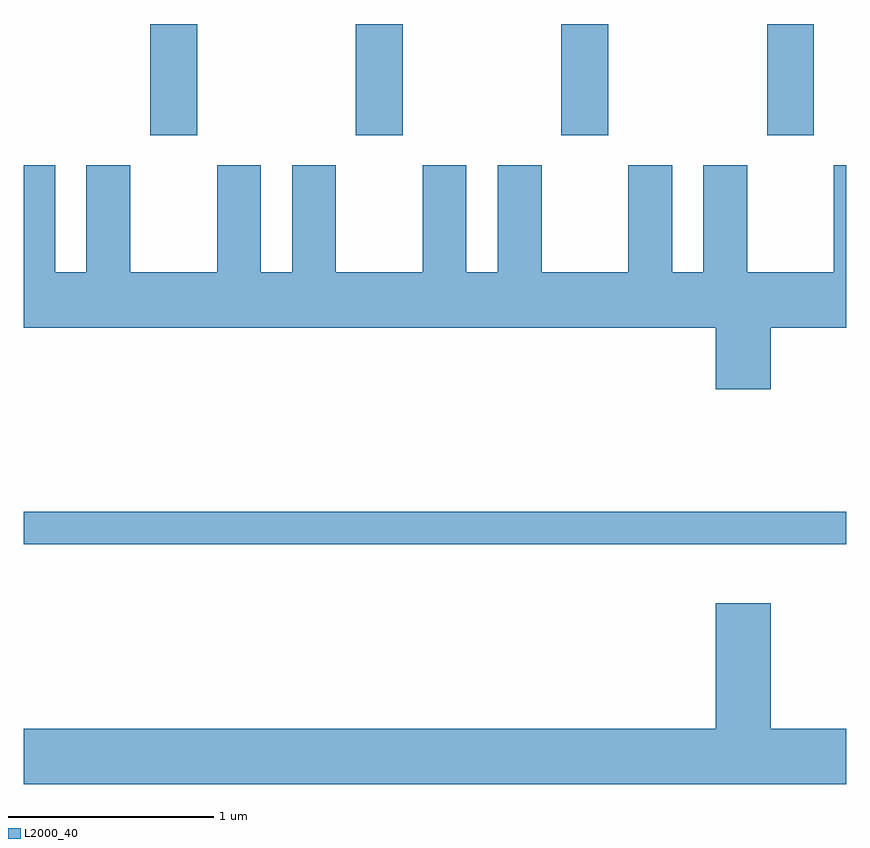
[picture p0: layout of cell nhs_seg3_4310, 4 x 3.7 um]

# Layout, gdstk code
import gdstk
lib = gdstk.Library(unit=1e-6, precision=1e-09)
def R(c, l, rs):  # rectangles x0, y0, x1, y1
    for r in rs: c.add(gdstk.rectangle(r[:2], r[2:], *l))
def A(c, l, x, y, w, h, nx, ny, dx, dy):  # array of equal rectangles
    R(c, l, [(x+i*dx, y+j*dy, x+i*dx+w, y+j*dy+h) for i in range(nx) for j in range(ny)])
def P(c, l, *ps):  # polygons
    for p in ps: c.add(gdstk.Polygon(p, *l))
L2000_40 = (2000, 40)

nhs_seg3_4310 = lib.new_cell('nhs_seg3_4310')
A(nhs_seg3_4310, L2000_40, 312.226, 1171.351, 0.228, 0.541, 4, 1, 1, 0)
R(nhs_seg3_4310, L2000_40, [(311.611,1169.361,315.611,1169.519)])
P(nhs_seg3_4310, L2000_40, [(314.976,1170.116),(315.244,1170.116),(315.244,1170.416),(315.611,1170.416),(315.611,1171.204),(315.551,1171.204),(315.551,1170.684),(315.129,1170.684),(315.129,1171.204),(314.916,1171.204),(314.916,1170.684),(314.764,1170.684),(314.764,1171.204),(314.551,1171.204),(314.551,1170.684),(314.129,1170.684),(314.129,1171.204),(313.916,1171.204),(313.916,1170.684),(313.764,1170.684),(313.764,1171.204),(313.551,1171.204),(313.551,1170.684),(313.129,1170.684),(313.129,1171.204),(312.916,1171.204),(312.916,1170.684),(312.764,1170.684),(312.764,1171.204),(312.551,1171.204),(312.551,1170.684),(312.129,1170.684),(312.129,1171.204),(311.916,1171.204),(311.916,1170.684),(311.764,1170.684),(311.764,1171.204),(311.611,1171.204),(311.611,1170.416),(314.976,1170.416)],
  [(315.611,1168.464),(315.244,1168.464),(315.244,1169.074),(314.976,1169.074),(314.976,1168.464),(311.611,1168.464),(311.611,1168.196),(315.611,1168.196)])

lib.write_gds('nhs_seg3_4310.gds')
